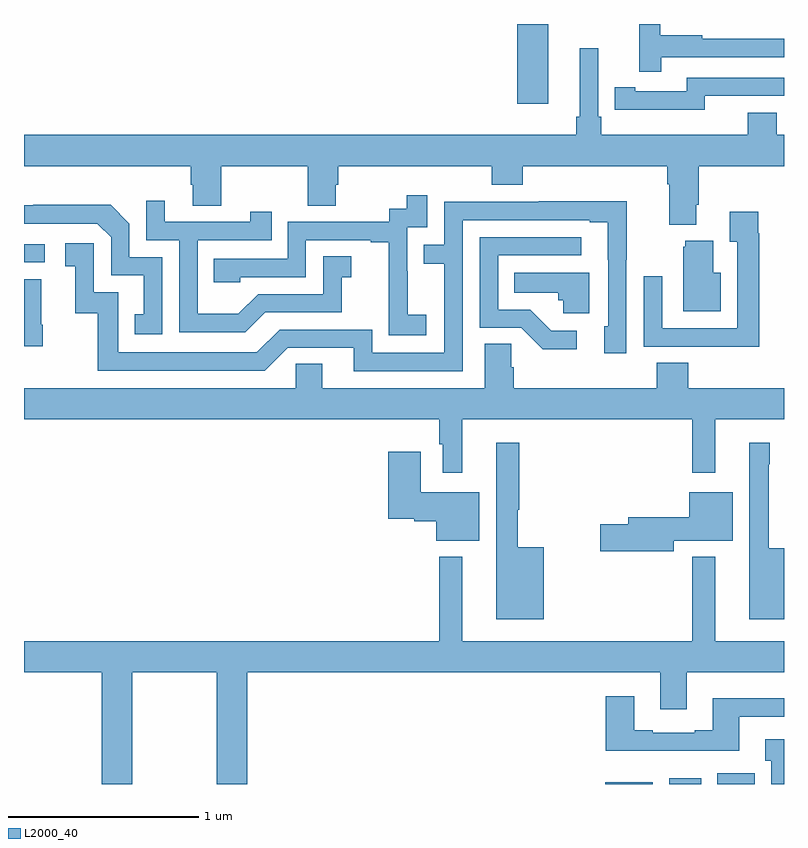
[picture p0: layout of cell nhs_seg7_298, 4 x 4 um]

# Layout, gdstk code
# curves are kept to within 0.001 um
import gdstk
lib = gdstk.Library(unit=1e-6, precision=1e-09)
def R(c, l, rs):  # rectangles x0, y0, x1, y1
    for r in rs: c.add(gdstk.rectangle(r[:2], r[2:], *l))
def P(c, l, *ps):  # polygons
    for p in ps: c.add(gdstk.Polygon(p, *l))
L2000_40 = (2000, 40)

nhs_seg7_298 = lib.new_cell('nhs_seg7_298')
R(nhs_seg7_298, L2000_40, [(136.058,1028,136.309,1028.008), (136.397,1028,136.564,1028.029), (136.649,1028,136.846,1028.056), (133,1030.746,133.108,1030.842), (135.596,1031.58,135.76,1032)])
P(nhs_seg7_298, L2000_40, [(136.355,1031.826),(137,1031.826),(137,1031.922),(136.571,1031.922),(136.571,1031.942),(136.348,1031.942),(136.348,1032),(136.238,1032),(136.238,1031.748),(136.355,1031.748)],
  [(136.537,1031.05),(136.55,1031.05),(136.55,1031.252),(137,1031.252),(137,1031.416),(136.961,1031.416),(136.961,1031.533),(136.808,1031.533),(136.808,1031.416),(136.037,1031.416),(136.037,1031.512),(136.023,1031.512),(136.023,1031.872),(135.926,1031.872),(135.926,1031.512),(135.907,1031.512),(135.907,1031.416),(133,1031.416),(133,1031.252),(133.877,1031.252),(133.877,1031.154),(133.889,1031.154),(133.889,1031.044),(134.037,1031.044),(134.037,1031.252),(134.494,1031.252),(134.494,1031.044),(134.641,1031.044),(134.641,1031.154),(134.654,1031.154),(134.654,1031.252),(135.461,1031.252),(135.461,1031.153),(135.626,1031.153),(135.626,1031.252),(136.385,1031.252),(136.385,1031.156),(136.397,1031.156),(136.397,1030.943),(136.537,1030.943)],
  [(136.584,1031.622),(137,1031.622),(137,1031.718),(136.488,1031.718),(136.488,1031.646),(136.216,1031.646),(136.216,1031.666),(136.108,1031.666),(136.108,1031.55),(136.216,1031.55),(136.216,1031.549),(136.584,1031.549)],
  [(135.118,1030.471),(135.02,1030.471),(135.02,1030.7),(135.018,1030.7),(135.018,1030.929),(135.123,1030.929),(135.123,1031.098),(135.015,1031.098),(135.015,1031.028),(134.922,1031.028),(134.922,1030.959),(134.388,1030.959),(134.388,1030.764),(133.999,1030.764),(133.999,1030.641),(134.139,1030.641),(134.139,1030.668),(134.484,1030.668),(134.484,1030.863),(134.825,1030.863),(134.825,1030.851),(134.921,1030.851),(134.921,1030.567),(134.92,1030.567),(134.92,1030.361),(135.118,1030.361)],
  [(134.269,1030.482),(134.673,1030.482),(134.673,1030.667),(134.722,1030.667),(134.722,1030.777),(134.574,1030.777),(134.574,1030.578),(134.232,1030.578),(134.128,1030.474),(133.914,1030.474),(133.914,1030.863),(134.303,1030.863),(134.303,1031.011),(134.192,1031.011),(134.192,1030.959),(133.741,1030.959),(133.741,1031.071),(133.644,1031.071),(133.644,1030.863),(133.818,1030.863),(133.818,1030.377),(134.164,1030.377)],
  [(135.309,1030.968),(135.977,1030.968),(135.977,1030.956),(136.073,1030.956),(136.074,1030.41),(136.055,1030.41),(136.055,1030.266),(136.17,1030.266),(136.17,1030.759),(136.173,1030.759),(136.173,1031.066),(135.709,1031.066),(135.709,1031.064),(135.213,1031.064),(135.213,1030.839),(135.103,1030.839),(135.103,1030.738),(135.213,1030.738),(135.213,1030.269),(134.832,1030.269),(134.832,1030.392),(134.346,1030.392),(134.226,1030.272),(133.497,1030.272),(133.497,1030.587),(133.368,1030.587),(133.368,1030.846),(133.218,1030.846),(133.218,1030.725),(133.271,1030.725),(133.271,1030.478),(133.389,1030.478),(133.389,1030.176),(134.268,1030.176),(134.388,1030.296),(134.735,1030.296),(134.735,1030.173),(135.309,1030.173)],
  [(133.728,1030.773),(133.554,1030.773),(133.554,1030.95),(133.456,1031.048),(133.048,1031.048),(133.048,1031.046),(133,1031.046),(133,1030.95),(133.386,1030.95),(133.458,1030.878),(133.458,1030.677),(133.631,1030.677),(133.631,1030.473),(133.582,1030.473),(133.582,1030.368),(133.728,1030.368)],
  [(136.871,1030.898),(136.864,1030.898),(136.864,1031.011),(136.715,1031.011),(136.715,1030.855),(136.755,1030.855),(136.755,1030.398),(136.359,1030.398),(136.359,1030.672),(136.263,1030.672),(136.263,1030.302),(136.579,1030.302),(136.579,1030.301),(136.871,1030.301)],
  [(135.91,1030.386),(135.775,1030.386),(135.664,1030.497),(135.495,1030.497),(135.495,1030.782),(135.934,1030.782),(135.934,1030.878),(135.399,1030.878),(135.399,1030.401),(135.618,1030.401),(135.731,1030.289),(135.91,1030.289)],
  [(136.666,1030.69),(136.627,1030.69),(136.627,1030.858),(136.481,1030.858),(136.481,1030.827),(136.469,1030.827),(136.469,1030.487),(136.666,1030.487)],
  [(135.976,1030.69),(135.58,1030.69),(135.58,1030.586),(135.811,1030.586),(135.811,1030.545),(135.837,1030.545),(135.837,1030.478),(135.976,1030.478)],
  [(133.098,1030.417),(133.09,1030.417),(133.09,1030.657),(133,1030.657),(133,1030.305),(133.098,1030.305)],
  [(135.307,1029.92),(136.518,1029.92),(136.518,1029.639),(136.639,1029.639),(136.639,1029.92),(137,1029.92),(137,1030.084),(136.496,1030.084),(136.496,1030.217),(136.331,1030.217),(136.331,1030.084),(135.578,1030.084),(135.578,1030.193),(135.564,1030.193),(135.564,1030.316),(135.425,1030.316),(135.425,1030.084),(134.569,1030.084),(134.569,1030.211),(134.43,1030.211),(134.43,1030.084),(133,1030.084),(133,1029.92),(135.186,1029.92),(135.186,1029.788),(135.203,1029.788),(135.203,1029.639),(135.307,1029.639)],
  [(135.736,1029.247),(135.599,1029.247),(135.599,1029.443),(135.607,1029.443),(135.607,1029.796),(135.485,1029.796),(135.485,1028.867),(135.736,1028.867)],
  [(137,1029.241),(136.921,1029.241),(136.921,1029.683),(136.924,1029.683),(136.924,1029.796),(136.817,1029.796),(136.817,1028.867),(137,1028.867)],
  [(135.397,1029.535),(135.088,1029.535),(135.088,1029.748),(134.918,1029.748),(134.918,1029.395),(135.054,1029.395),(135.054,1029.382),(135.17,1029.382),(135.17,1029.281),(135.397,1029.281)],
  [(136.42,1029.281),(136.729,1029.281),(136.729,1029.535),(136.502,1029.535),(136.502,1029.403),(136.181,1029.403),(136.181,1029.368),(136.032,1029.368),(136.032,1029.226),(136.42,1029.226)],
  [(133.569,1028.588),(134.014,1028.588),(134.014,1028),(134.174,1028),(134.174,1028.588),(136.349,1028.588),(136.349,1028.394),(136.489,1028.394),(136.489,1028.588),(137,1028.588),(137,1028.752),(136.639,1028.752),(136.639,1029.196),(136.518,1029.196),(136.518,1028.752),(135.307,1028.752),(135.307,1029.196),(135.186,1029.196),(135.186,1028.752),(133,1028.752),(133,1028.588),(133.409,1028.588),(133.409,1028),(133.569,1028)],
  [(136.765,1028.355),(137,1028.355),(137,1028.452),(136.625,1028.452),(136.625,1028.284),(136.529,1028.284),(136.529,1028.271),(136.309,1028.271),(136.309,1028.284),(136.213,1028.284),(136.213,1028.461),(136.061,1028.461),(136.061,1028.174),(136.765,1028.174)],
  [(137,1028.236),(136.901,1028.236),(136.901,1028.123),(136.934,1028.123),(136.934,1028),(137,1028)])

lib.write_gds('nhs_seg7_298.gds')
